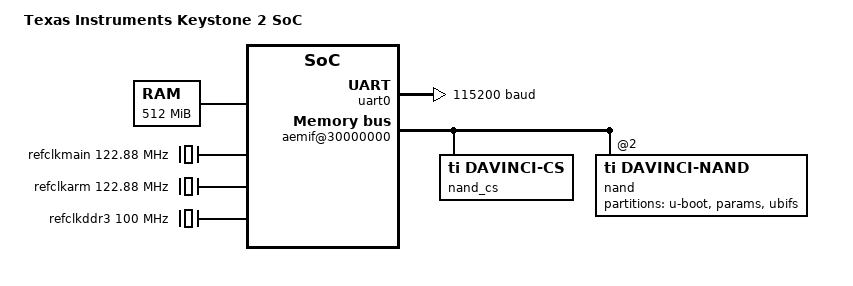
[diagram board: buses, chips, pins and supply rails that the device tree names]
/*
 * Copyright 2015 Texas Instruments, Inc.
 *
 * Keystone 2 Lamarr EVM kernel crash recovery device tree file
 *
 * This program is free software; you can redistribute it and/or modify
 * it under the terms of the GNU General Public License version 2 as
 * published by the Free Software Foundation.
 */
/dts-v1/;
/include/ "skeleton.dtsi"
/ {
	model = "Texas Instruments Keystone 2 SoC";
	#address-cells = <2>;
	#size-cells = <2>;
	interrupt-parent = <&gic>;
	compatible = "ti,k2l-evm", "ti,keystone";

	chosen {
		bootargs = "console=ttyS0,115200n8 earlyprintk rootwait=1 rootfstype=ubifs root=ubi0:rootfs-recovery rootflags=sync rw ubi.mtd=2,4096 elfcorehdr=0x97f00000";
	};

	aliases {
		serial0	= &uart0;
	};

	memory {
		reg = <0x00000000 0x80000000 0x00000000 0x20000000>;
	};

	cpus {
		#address-cells = <1>;
		#size-cells = <0>;

		interrupt-parent = <&gic>;

		cpu@0 {
			compatible = "arm,cortex-a15";
			device_type = "cpu";
			reg = <0x0>;
			clocks = <&armpllclk>;
		};
	};

	soc {
		#address-cells = <1>;
		#size-cells = <1>;
		compatible = "ti,keystone","simple-bus";
		interrupt-parent = <&gic>;
		ranges = <0x0 0x0 0x0 0xc0000000>;

		rstctrl:rstctrl@23100e8 {
			compatible = "ti,keystone-reset";
			reg = <0x023100e8 4	/* pll reset control reg */
				0x02620328 4>;	/* rstmux8 register */
		};

		clocks {
			#address-cells = <0x1>;
			#size-cells = <0x1>;
			ranges;

			mainpllclk: mainpllclk@2310110 {
				#clock-cells = <0>;
				compatible = "keystone,main-pll-clk";
				clocks = <&refclkmain>;
				reg = <0x02310110 4	/* PLLCTRL PLLM */
					0x02620350 4>;	/* MAINPLL_CTL0 */
				pll_has_pllctrl;
				pllm_lower_mask	= <0x3f>;
				pllm_upper_mask = <0x7f000>;
				pllm_upper_shift = <6>;
				plld_mask = <0x3f>;
				fixed_postdiv = <2>;
			};

			armpllclk: armpllclk@2620370 {
				#clock-cells = <0>;
				compatible = "keystone,pll-clk";
				clocks = <&refclkarm>;
				clock-output-names = "arm-pll-clk";
				reg = <0x02620370 4>;
				pllm_upper_mask = <0x7ffc0>;
				pllm_upper_shift = <6>;
				plld_mask = <0x3f>;
			};

			ddr3_clk: ddr3_clk@2620360 {
				#clock-cells = <0>;
				compatible = "keystone,pll-clk";
				clocks = <&refclkddr3>;
				clock-output-names = "ddr3-pll-clk";
				reg = <0x02620360 4>;
				pllm_upper_mask = <0x7ffc0>;
				pllm_upper_shift = <6>;
				plld_mask = <0x3f>;
			};

			mainmuxclk: mainmuxclk@2310108 {
				#clock-cells = <0>;
				compatible = "davinci,main-pll-mux-clk";
				clocks = <&mainpllclk>, <&refclkmain>;
				reg = <0x02310108 4>;
				shift = <23>;
				width = <1>;
			};

			chipclk1: chipclk1 {
				#clock-cells = <0>;
				compatible = "fixed-clock-factor";
				clocks = <&mainmuxclk>;
				clock-mult = <1>;
				clock-div = <1>;
			};

			chipclk1rstiso: chipclk1rstiso {
				#clock-cells = <0>;
				compatible = "fixed-clock-factor";
				clocks = <&mainmuxclk>;
				clock-mult = <1>;
				clock-div = <1>;
			};

			gemtraceclk: gemtraceclk@2310120 {
				#clock-cells = <0>;
				compatible = "davinci,pll-divider-clk";
				clocks = <&mainmuxclk>;
				reg = <0x02310120 4>;
				shift = <0>;
				width = <8>;
			};

			chipclk12: chipclk12 {
				#clock-cells = <0>;
				compatible = "fixed-clock-factor";
				clocks = <&chipclk1>;
				clock-mult = <1>;
				clock-div = <2>;
			};

			chipclk13: chipclk13 {
				#clock-cells = <0>;
				compatible = "fixed-clock-factor";
				clocks = <&chipclk1>;
				clock-mult = <1>;
				clock-div = <3>;
			};

			chipclk14: chipclk14 {
				#clock-cells = <0>;
				compatible = "fixed-clock-factor";
				clocks = <&chipclk1>;
				clock-mult = <1>;
				clock-div = <4>;
			};

			chipclk16: chipclk16 {
				#clock-cells = <0>;
				compatible = "fixed-clock-factor";
				clocks = <&chipclk1>;
				clock-mult = <1>;
				clock-div = <6>;
			};

			chipclk112: chipclk112 {
				#clock-cells = <0>;
				compatible = "fixed-clock-factor";
				clocks = <&chipclk1>;
				clock-mult = <1>;
				clock-div = <12>;
			};

			chipclk124: chipclk124 {
				#clock-cells = <0>;
				compatible = "fixed-clock-factor";
				clocks = <&chipclk1>;
				clock-mult = <1>;
				clock-div = <24>;
			};

			chipclk1rstiso13: chipclk1rstiso13 {
				#clock-cells = <0>;
				compatible = "fixed-clock-factor";
				clocks = <&chipclk1rstiso>;
				clock-mult = <1>;
				clock-div = <3>;
			};

			chipclk1rstiso14: chipclk1rstiso14 {
				#clock-cells = <0>;
				compatible = "fixed-clock-factor";
				clocks = <&chipclk1rstiso>;
				clock-mult = <1>;
				clock-div = <4>;
			};

			chipclk1rstiso16: chipclk1rstiso16 {
				#clock-cells = <0>;
				compatible = "fixed-clock-factor";
				clocks = <&chipclk1rstiso>;
				clock-mult = <1>;
				clock-div = <6>;
			};

			chipclk1rstiso112: chipclk1rstiso112 {
				#clock-cells = <0>;
				compatible = "fixed-clock-factor";
				clocks = <&chipclk1rstiso>;
				clock-mult = <1>;
				clock-div = <12>;
			};

			clkaemifspi: clkaemifspi {
				#clock-cells = <0>;
				compatible = "davinci,psc-clk";
				clocks = <&chipclk16>;
				clock-output-names = "aemif-spi";
				reg = <0x02350000 4096>;
				status = "enabled";
				lpsc = <3>;
			};

			clkdebugsstrc: clkdebugsstrc {
				#clock-cells = <0>;
				compatible = "davinci,psc-clk";
				clocks = <&chipclk13>;
				clock-output-names = "debugss-trc";
				base-flags = "ignore-unused";
				reg = <0x02350000 4096>;
				lpsc = <5>;
				pd = <1>;
			};

			clktetbtrc: clktetbtrc {
				#clock-cells = <0>;
				compatible = "davinci,psc-clk";
				clocks = <&chipclk13>;
				clock-output-names = "tetb-trc";
				base-flags = "ignore-unused";
				reg = <0x02350000 4096>;
				lpsc = <6>;
				pd = <1>;
			};

			clkddr30: clkddr30 {
				#clock-cells = <0>;
				compatible = "davinci,psc-clk";
				clocks = <&chipclk12>;
				clock-output-names = "ddr3-0";
				base-flags = "ignore-unused";
				reg = <0x02350000 4096>;
				lpsc = <23>;
				pd = <16>;
			};

			clkwdtimer0: clkwdtimer0 {
				#clock-cells = <0>;
				compatible = "davinci,psc-clk";
				clocks = <&clkmodrst0>;
				clock-output-names = "timer0";
				status = "enabled";
				reg = <0x02350000 4096>;
			};

			clkwdtimer1: clkwdtimer1 {
				#clock-cells = <0>;
				compatible = "davinci,psc-clk";
				clocks = <&clkmodrst0>;
				clock-output-names = "timer1";
				status = "enabled";
				reg = <0x02350000 4096>;
			};

			clkwdtimer2: clkwdtimer2 {
				#clock-cells = <0>;
				compatible = "davinci,psc-clk";
				clocks = <&clkmodrst0>;
				clock-output-names = "timer2";
				status = "enabled";
				reg = <0x02350000 4096>;
			};

			clkwdtimer3: clkwdtimer3 {
				#clock-cells = <0>;
				compatible = "davinci,psc-clk";
				clocks = <&clkmodrst0>;
				clock-output-names = "timer3";
				status = "enabled";
				reg = <0x02350000 4096>;
			};

			clktimer15: clktimer15 {
				#clock-cells = <0>;
				compatible = "davinci,psc-clk";
				clocks = <&clkmodrst0>;
				clock-output-names = "timer15";
				status = "enabled";
				reg = <0x02350000 4096>;
			};

			clkuart0: clkuart0 {
				#clock-cells = <0>;
				compatible = "davinci,psc-clk";
				clocks = <&clkmodrst0>;
				clock-output-names = "uart0";
				status = "enabled";
				reg = <0x02350000 4096>;
			};

			clkmodrst0: clkmodrst0 {
				#clock-cells = <0>;
				compatible = "davinci,psc-clk";
				clocks = <&chipclk16>;
				clock-output-names = "modrst0";
				status = "enabled";
				reg = <0x02350000 4096>;
			};

			clkaemif: clkaemif {
				#clock-cells = <0>;
				compatible = "davinci,psc-clk";
				clocks = <&clkaemifspi>;
				clock-output-names = "aemif";
				status = "enabled";
				reg = <0x02350000 4096>;
			};

			refclkmain: refclkmain {
				#clock-cells = <0>;
				compatible = "fixed-clock";
				clock-frequency = <122880000>;
				clock-output-names = "refclk-main";
			};

			refclkarm: refclkarm {
				#clock-cells = <0>;
				compatible = "fixed-clock";
				clock-frequency = <122880000>;
				clock-output-names = "refclk-arm";
			};

			refclkddr3: refclkddr3 {
				#clock-cells = <0>;
				compatible = "fixed-clock";
				clock-frequency = <100000000>;
				clock-output-names = "refclk-ddr3";
			};
		};

		gic: interrupt-controller@02560000 {
			compatible = "arm,cortex-a15-gic";
			#interrupt-cells = <3>;
			#size-cells = <0>;
			#address-cells = <1>;
			interrupt-controller;
			reg = <0x02561000 0x1000>,
			      <0x02562000 0x2000>;
		};

		ipcirq0: ipcirq0@26202bc {	/* ipc irq chip */
			compatible = "ti,keystone-ipc-irq";
			reg  = <0x026202a0 4	/* host ack register */
			        0x02620260 4>;	/* ipc host interrupt generation
						   register */
			interrupts = <0 4 0x101>;
				/* it should match the value in irqs.h */
				/* following is the source id to irq mapping
				   SRCS0 <-> ipc hw irq 0 ... SRCS27 <-> ipc hw
				    irq 27 note that SRCS0 is bit 4 in ipc
				    register */
			interrupt-controller;
			#interrupt-cells = <2>;
		};

		timer {
			compatible = "arm,armv7-timer";
			interrupts = <1 13 0xf08 1 14 0xf08>;
		};

		uart0:	serial@02530c00 {
			compatible	= "ns16550a";
			current-speed	= <115200>;
			reg-shift	= <2>;
			reg-io-width	= <4>;
			reg		= <0x02530c00 0x100>;
			clocks		= <&clkuart0>;
			interrupts	= <0 277 0xf01>;
		};

		aemif@30000000 {
			compatible = "ti,davinci-aemif";
			#address-cells = <2>;
			#size-cells = <1>;
			reg = <0x21000A00 0x100>;
			ranges = <2 0 0x30000000 0x08000000
				3 0 0x34000000 0x04000000
				4 0 0x38000000 0x04000000
				5 0 0x3C000000 0x04000000
				6 0 0x21000A00 0x100>;
			clocks = <&clkaemif>;
			clock-names = "aemif";

			nand_cs:cs2@30000000 {
				compatible = "ti,davinci-cs";
				#address-cells = <1>;
				#size-cells = <1>;
				/* all timings in nanoseconds */
				ti,davinci-cs-ta = <12>;
				ti,davinci-cs-rhold = <6>;
				ti,davinci-cs-rstrobe = <23>;
				ti,davinci-cs-rsetup = <9>;
				ti,davinci-cs-whold = <8>;
				ti,davinci-cs-wstrobe = <23>;
				ti,davinci-cs-wsetup = <8>;
			};

			nand@2,0 {
				compatible = "ti,davinci-nand";
				reg = <2 0x0 0x8000000
					6 0x0 0x100>;
				#address-cells = <1>;
				#size-cells = <1>;
				ti,davinci-chipselect = <0>;
				ti,davinci-mask-ale = <0x2000>;
				ti,davinci-mask-cle = <0x4000>;
				ti,davinci-mask-chipsel = <0>;
				ti,davinci-ecc-mode = "hw";
				ti,davinci-ecc-bits = <4>;
				ti,davinci-nand-use-bbt;
				ti,davinci-no-subpage-write;
				clocks = <&clkaemif>;
				clock-names = "aemif";

				partition@0 {
					label = "u-boot";
					reg = <0x0 0x100000>;
					read-only;
				};

				partition@100000 {
					label = "params";
					reg = <0x100000 0x80000>;
					read-only;
				};

				partition@180000 {
					label = "ubifs";
					reg = <0x180000 0x7fe80000>;
				};
			};
		};

		wdt: wdt@22f0080 {
			compatible = "ti,davinci-wdt";
			reg = <0x022f0080 0x80>;
			clocks = <&clkwdtimer0>;
			clock-names = "watchdog";
		};

		timer15: timer@22f0000 {
			compatible = "ti,keystone-timer";
			reg = <0x022f0000 0x80>;
			interrupts = <0 110 0xf01>;
			clocks = <&clktimer15>;
		};

                debugss: debugss {
                        compatible = "ti,keystone-debugss";
                        clocks = <&mainpllclk>, <&armpllclk>, <&clkdebugsstrc>, <&gemtraceclk>, <&clktetbtrc>;
                        clock-names = "mainpllclock", "armpllclock", "debugssclock", "gemtraceclock", "tetbclock";
                };

		sysctrl {
			/*
			 * add all system level resources here that are used by
			 * keystone soc code. Move rstctrl contents to this node
			 */
			compatible = "ti,keystone-sys";
			reg = <0x21010000 0x200>; /* DDR3 controller reg */
			interrupts = <0 24 0xf01>, /* L1L2 ECC error interrupt */
				     <0 448 0xf04>; /* DDR3 ECC error interrupt */
		};

		pmu {
			compatible = "arm,cortex-a15-pmu";
			interrupts = <0 20 0xf01>,
				     <0 21 0xf01>;
		};
	};
};

